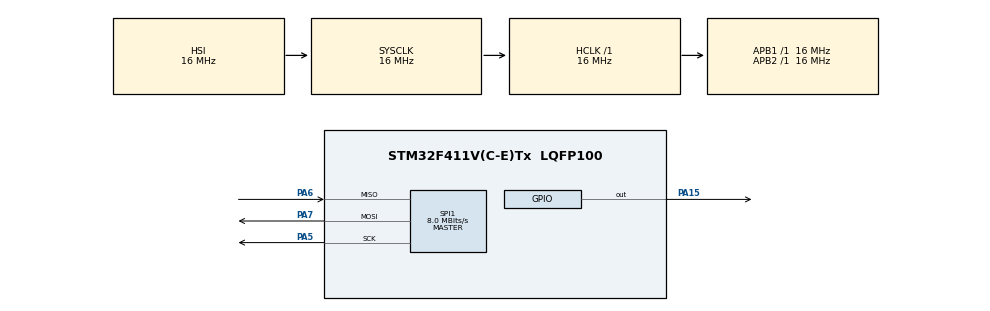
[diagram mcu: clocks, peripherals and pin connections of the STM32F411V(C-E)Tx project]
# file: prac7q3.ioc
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Mcu.Family=STM32F4
Mcu.Name=STM32F411V(C-E)Tx
Mcu.Package=LQFP100
NVIC.PriorityGroup=NVIC_PRIORITYGROUP_4
PA15.Signal=GPIO_Output
PA5.Mode=Full_Duplex_Master
PA5.Signal=SPI1_SCK
PA6.Mode=Full_Duplex_Master
PA6.Signal=SPI1_MISO
PA7.Mode=Full_Duplex_Master
PA7.Signal=SPI1_MOSI
ProjectManager.HeapSize=0x200
ProjectManager.StackSize=0x400
ProjectManager.TargetToolchain=STM32CubeIDE
RCC.AHBFreq_Value=16000000
RCC.APB1Freq_Value=16000000
RCC.APB2Freq_Value=16000000
RCC.CortexFreq_Value=16000000
RCC.HSE_VALUE=25000000
RCC.HSI_VALUE=16000000
RCC.LSE_VALUE=32768
RCC.SYSCLKFreq_VALUE=16000000
RCC.VCOOutputFreq_Value=192000000
SPI1.CalculateBaudRate=8.0 MBits/s
SPI1.Direction=SPI_DIRECTION_2LINES
SPI1.Mode=SPI_MODE_MASTER
SPI1.VirtualType=VM_MASTER
VP_FATFS_VS_Generic.Mode=User_defined
board=custom

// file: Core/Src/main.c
/* USER CODE BEGIN Header */
/**
  ******************************************************************************
  * @file           : main.c
  * @brief          : Main program body
  ******************************************************************************
  * @attention
  *
  * <h2><center>&copy; Copyright (c) 2020 STMicroelectronics.
  * All rights reserved.</center></h2>
  *
  * This software component is licensed by ST under BSD 3-Clause license,
  * the "License"; You may not use this file except in compliance with the
  * License. You may obtain a copy of the License at:
  *                        opensource.org/licenses/BSD-3-Clause
  *
  ******************************************************************************
  */
/* USER CODE END Header */

#include "main.h"
#include "fatfs.h"

/* USER CODE BEGIN Includes */
#include <sd.h>
/* USER CODE END Includes */

SPI_HandleTypeDef hspi1;

void SystemClock_Config(void);
static void MX_GPIO_Init(void);
static void MX_SPI1_Init(void);

/* USER CODE BEGIN 0 */

FATFS fs;
FIL inputFil, outputFil;
FRESULT fres;
UINT numread, numwritten;
uint8_t instr[1000];
int inpNum1, inpNum2, sum;
uint8_t outstr[1000];
/* USER CODE END 0 */

int main(void)
{

  /* MCU Configuration--------------------------------------------------------*/

  /* Reset of all peripherals, Initializes the Flash interface and the Systick. */
  HAL_Init();

  /* Configure the system clock */
  SystemClock_Config();

  /* Initialize all configured peripherals */
  MX_GPIO_Init();
  MX_FATFS_Init();
  MX_SPI1_Init();
  /* USER CODE BEGIN 2 */

  // CS = low
  HAL_GPIO_WritePin(GPIOA, GPIO_PIN_15, GPIO_PIN_RESET);

  fres = f_mount(&fs, "", 1);

  fres = f_open(&inputFil, "MYFILE.TXT", FA_READ);

  fres = f_read(&inputFil, instr, 1000, &numread);

  // Convert ascii to decimal and calculate sum of the two numbers;
  inpNum1 = (instr[0]-48)*10 + (instr[1]-48);
  inpNum2 = (instr[3]-48)*10 + (instr[4]-48);
  sum = inpNum1 + inpNum2;

  uint8_t studentNum[] = "22738002";
  for (int i = 0; i < 8; ++i) { // copy student number to outstr
	outstr[i] = studentNum[i];
  }

  outstr[8] = 32;
  outstr[9] = (sum % 1000)/100 + 48;
  outstr[10] = (sum % 100)/10 + 48;
  outstr[11] = (sum % 10)/1 + 48;

  fres = f_open(&outputFil, "Output.txt", FA_WRITE | FA_CREATE_ALWAYS);
  fres = f_write(&outputFil, outstr, 12, &numwritten);

  f_close(&inputFil);
  f_close(&outputFil);

  /* USER CODE END 2 */

  /* Infinite loop */
  while (1)
  {

  }
}

void SystemClock_Config(void)
{
  RCC_OscInitTypeDef RCC_OscInitStruct = {0};
  RCC_ClkInitTypeDef RCC_ClkInitStruct = {0};

  /** Configure the main internal regulator output voltage
  */
  __HAL_RCC_PWR_CLK_ENABLE();
  __HAL_PWR_VOLTAGESCALING_CONFIG(PWR_REGULATOR_VOLTAGE_SCALE1);
  /** Initializes the CPU, AHB and APB busses clocks
  */
  RCC_OscInitStruct.OscillatorType = RCC_OSCILLATORTYPE_HSI;
  RCC_OscInitStruct.HSIState = RCC_HSI_ON;
  RCC_OscInitStruct.HSICalibrationValue = RCC_HSICALIBRATION_DEFAULT;
  RCC_OscInitStruct.PLL.PLLState = RCC_PLL_NONE;
  if (HAL_RCC_OscConfig(&RCC_OscInitStruct) != HAL_OK)
  {
    Error_Handler();
  }
  /** Initializes the CPU, AHB and APB busses clocks
  */
  RCC_ClkInitStruct.ClockType = RCC_CLOCKTYPE_HCLK|RCC_CLOCKTYPE_SYSCLK
                              |RCC_CLOCKTYPE_PCLK1|RCC_CLOCKTYPE_PCLK2;
  RCC_ClkInitStruct.SYSCLKSource = RCC_SYSCLKSOURCE_HSI;
  RCC_ClkInitStruct.AHBCLKDivider = RCC_SYSCLK_DIV1;
  RCC_ClkInitStruct.APB1CLKDivider = RCC_HCLK_DIV1;
  RCC_ClkInitStruct.APB2CLKDivider = RCC_HCLK_DIV1;

  if (HAL_RCC_ClockConfig(&RCC_ClkInitStruct, FLASH_LATENCY_0) != HAL_OK)
  {
    Error_Handler();
  }
}

static void MX_SPI1_Init(void)
{

  /* SPI1 parameter configuration*/
  hspi1.Instance = SPI1;
  hspi1.Init.Mode = SPI_MODE_MASTER;
  hspi1.Init.Direction = SPI_DIRECTION_2LINES;
  hspi1.Init.DataSize = SPI_DATASIZE_8BIT;
  hspi1.Init.CLKPolarity = SPI_POLARITY_LOW;
  hspi1.Init.CLKPhase = SPI_PHASE_1EDGE;
  hspi1.Init.NSS = SPI_NSS_SOFT;
  hspi1.Init.BaudRatePrescaler = SPI_BAUDRATEPRESCALER_2;
  hspi1.Init.FirstBit = SPI_FIRSTBIT_MSB;
  hspi1.Init.TIMode = SPI_TIMODE_DISABLE;
  hspi1.Init.CRCCalculation = SPI_CRCCALCULATION_DISABLE;
  hspi1.Init.CRCPolynomial = 10;
  if (HAL_SPI_Init(&hspi1) != HAL_OK)
  {
    Error_Handler();
  }

}

static void MX_GPIO_Init(void)
{
  GPIO_InitTypeDef GPIO_InitStruct = {0};

  /* GPIO Ports Clock Enable */
  __HAL_RCC_GPIOA_CLK_ENABLE();

  /*Configure GPIO pin Output Level */
  HAL_GPIO_WritePin(GPIOA, GPIO_PIN_15, GPIO_PIN_RESET);

  /*Configure GPIO pin : PA15 */
  GPIO_InitStruct.Pin = GPIO_PIN_15;
  GPIO_InitStruct.Mode = GPIO_MODE_OUTPUT_PP;
  GPIO_InitStruct.Pull = GPIO_NOPULL;
  GPIO_InitStruct.Speed = GPIO_SPEED_FREQ_LOW;
  HAL_GPIO_Init(GPIOA, &GPIO_InitStruct);

}

void Error_Handler(void)
{
}

/************************ (C) COPYRIGHT STMicroelectronics *****END OF FILE****/
